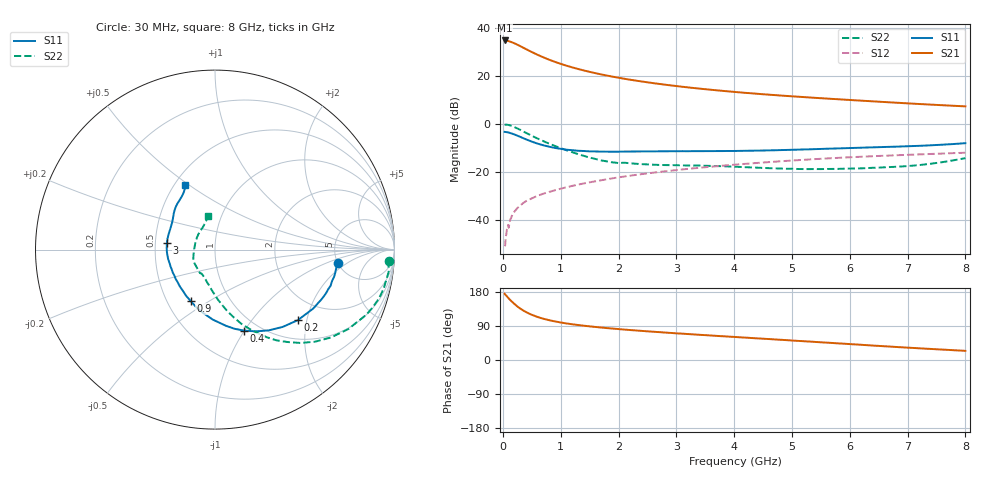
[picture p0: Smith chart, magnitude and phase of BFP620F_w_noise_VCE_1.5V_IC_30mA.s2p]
! Infineon Technologies  Discrete & RF Semiconductors
! BFP620F
! VCE =  1.5 V,  IC =  30 mA
! Common Emitter S-Parameters:  Dec 2014
# GHz  S  MA  R  50
!  f  S11  S21  S12  S22
! GHz  MAG  ANG  MAG  ANG  MAG  ANG  MAG  ANG
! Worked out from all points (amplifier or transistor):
!   95 points, 30 MHz to 8 GHz, reference 50 ohm
!   highest |S21| = 35.0 dB at 30 MHz (marker M1)
!   |S21| within 3 dB of that: start of sweep to 349.7 MHz
!   unconditionally stable (mu >= 1): 2.507 GHz to end of sweep
!   at 300 MHz: K = 0.38, MSG = 33.3 dB, |S12| = -34.1 dB
!   at 3.3 GHz: K = 1.02, MAG = 15.9 dB, |S12| = -18.5 dB
!   at 8 GHz: K = 1.06, MAG = 8.2 dB, |S12| = -12.0 dB
!   lowest NFmin = 1.13 dB at 450 MHz
!   S11 on the Smith chart (normalised r, x): 30 MHz: 4.95, -1.44; 200 MHz: 1.42, -1.77; 400 MHz: 0.85, -1.00; 900 MHz: 0.66, -0.42; 3 GHz: 0.58, +0.05; 8 GHz: 0.56, +0.49
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0.03  0.6869 -6.4  55.97 174.8  0.0028 86.5  0.9704 -3.6
0.07  0.6751 -15.1  55.34 167.9  0.0063 78.4  0.9677 -10.8
0.12  0.6535 -25.5  53.17 159.4  0.0091 80.5  0.94 -19.1
0.15  0.6372 -31.2  51.73 154.9  0.0117 77.3  0.9145 -23.7
0.2  0.6063 -40.4  48.74 147.9  0.0148 74.3  0.8646 -30.8
0.25  0.5725 -48.8  45.69 141.4  0.0175 72.2  0.811 -37.1
0.3  0.54 -56.5  42.64 135.8  0.0198 68.5  0.757 -42.7
0.35  0.5086 -63.6  39.61 130.9  0.0222 67.5  0.7042 -47.6
0.4  0.4794 -70.3  36.91 126.5  0.0245 66.4  0.6553 -51.8
0.5  0.4294 -81.7  32.05 119.3  0.0279 64.8  0.57 -59.2
0.6  0.3903 -91.8  28.06 113.5  0.0317 63.5  0.498 -65.2
0.7  0.3595 -100.5  24.84 108.9  0.035 63.0  0.4395 -70.4
0.9  0.3168 -115.4  19.98 101.8  0.0413 63.1  0.3488 -78.8
1.1  0.291 -128.0  16.61 96.5  0.0477 63.2  0.2833 -86.1
1.4  0.2733 -143.2  13.21 90.5  0.0573 62.9  0.2167 -96.4
2  0.2647 -165.3  9.307 81.6  0.0769 61.6  0.1531 -119.1
2.7  0.2692 177.8  6.914 73.6  0.0994 58.5  0.1399 -138.9
3  0.2703 171.9  6.235 70.4  0.1092 57.2  0.1381 -145.0
4.1  0.275 154.7  4.596 59.9  0.1442 51.0  0.127 -161.5
5.4  0.2994 140.7  3.537 47.7  0.185 42.4  0.1147 169.8
6.7  0.3343 127.7  2.844 35.4  0.2201 32.8  0.1263 136.6
8  0.3984 114.5  2.345 24.1  0.2514 23.6  0.1933 101.0
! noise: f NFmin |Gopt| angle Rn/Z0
0.45  1.13  0.05  -172  0.18
0.9  1.16  0.05  -171  0.14
1.5  1.18  0.12  -148  0.15
1.8  1.19  0.12  -147  0.16
1.9  1.19  0.12  -146  0.16
2.4  1.21  0.12  -146  0.17
3.5  1.27  0.14  -141  0.18
5.5  1.42  0.21  241  0.13
6  1.47  0.22  260  0.16
